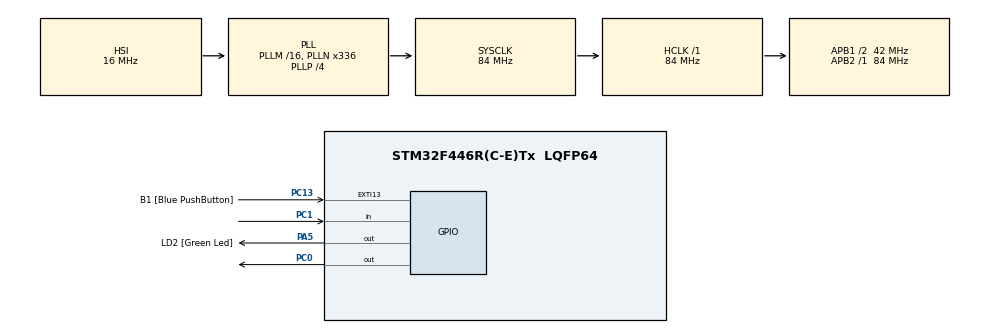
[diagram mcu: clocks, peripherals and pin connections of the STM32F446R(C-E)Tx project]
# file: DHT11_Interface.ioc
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Mcu.Family=STM32F4
Mcu.Name=STM32F446R(C-E)Tx
Mcu.Package=LQFP64
NVIC.PriorityGroup=NVIC_PRIORITYGROUP_0
NVIC.TIM6_DAC_IRQn=true\:0\:0\:false\:false\:true\:true\:true\:true
PA13.GPIO_Label=TMS
PA13.Signal=SYS_JTMS-SWDIO
PA14.Signal=SYS_JTCK-SWCLK
PA5.GPIO_Label=LD2 [Green Led]
PA5.Signal=GPIO_Output
PC0.Signal=GPIO_Output
PC1.Signal=GPIO_Input
PC13.GPIO_Label=B1 [Blue PushButton]
PC13.GPIO_ModeDefaultEXTI=GPIO_MODE_IT_FALLING
PC13.Signal=GPXTI13
PC14-OSC32_IN.Signal=RCC_OSC32_IN
PC15-OSC32_OUT.Signal=RCC_OSC32_OUT
PH0-OSC_IN.Signal=RCC_OSC_IN
PH1-OSC_OUT.Signal=RCC_OSC_OUT
ProjectManager.HeapSize=0x200
ProjectManager.StackSize=0x400
ProjectManager.TargetToolchain=STM32CubeIDE
RCC.AHBFreq_Value=84000000
RCC.APB1CLKDivider=RCC_HCLK_DIV2
RCC.APB1Freq_Value=42000000
RCC.APB1TimFreq_Value=84000000
RCC.APB2Freq_Value=84000000
RCC.APB2TimFreq_Value=84000000
RCC.CortexFreq_Value=84000000
RCC.FLatency-AdvancedSettings=FLASH_LATENCY_2
RCC.HCLKFreq_Value=84000000
RCC.HSE_VALUE=8000000
RCC.HSI_VALUE=16000000
RCC.LSE_VALUE=32768
RCC.PLLN=336
RCC.PLLP=RCC_PLLP_DIV4
RCC.SYSCLKFreq_VALUE=84000000
RCC.SYSCLKSource=RCC_SYSCLKSOURCE_PLLCLK
RCC.USBFreq_Value=168000000
RCC.VCOOutputFreq_Value=336000000
TIM6.Period=0xffff-1
TIM6.Prescaler=84-1
VP_TIM6_VS_ClockSourceINT.Mode=Enable_Timer
board=NUCLEO-F446RE

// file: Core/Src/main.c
/* USER CODE BEGIN Header */
/**
  ******************************************************************************
  * @file           : DHT11_Interface.c
  * @brief          : Displaying Humidity and Tempreture on LCD
  ******************************************************************************
  * @attention
  *
  * Copyright (c) 2023 STMicroelectronics.
  * All rights reserved.
  *
  * This software is licensed under terms that can be found in the LICENSE file
  * in the root directory of this software component.
  * If no LICENSE file comes with this software, it is provided AS-IS.
  *
  ******************************************************************************
  */
/* USER CODE END Header */
#include "main.h"

/* USER CODE BEGIN PTD */
  typedef struct {
  	uint8_t seconds;
  	uint8_t minutes;
  	uint8_t hour;
  	uint8_t dayofweek;
  	uint8_t dayofmonth;
  	uint8_t month;
  	uint8_t year;
  } TIME;

  TIME time;
/* USER CODE END PTD */

/* USER CODE BEGIN PD */
					  /*	00 01  02  03 04  05  06 */
  char timeDateToSet[15] = {0x06, 0x04, 0x10, 0x06, 0x16, 0x05, 0x23, 0};
  	  	  	  	  	  	  	  //55:19:16 6(SATURDAY), 29(date), 04(APRIL) 2023/

char timeDateReadback[15];
 char set_time[15];
 unsigned char numaric_value[20];
 int rtc_data[15];

 char buffer[15];

/* USER CODE END PD */

/* USER CODE BEGIN PM */
#define SLAVE_ADDR 0x68
/* USER CODE END PM */

TIM_HandleTypeDef htim6;

/* USER CODE BEGIN PV */
uint8_t Rh_byte1, Rh_byte2, Temp_byte1, Temp_byte2;
uint16_t RH, TEMP;
uint8_t Presence = 0;
char str[20]={0};
/* USER CODE END PV */

void SystemClock_Config(void);
static void MX_GPIO_Init(void);
static void MX_TIM6_Init(void);

/* USER CODE BEGIN 0 */
void Delay (uint16_t time)
{
	/* change your code here for the delay in microseconds */
	__HAL_TIM_SET_COUNTER(&htim6, 0);
	while ((__HAL_TIM_GET_COUNTER(&htim6))<time);
}

void Display_Temp (float Temp)
{
	char str[20] = {0};
	//LCD_command(0x01);
	//delay(11);

	sprintf (str, "TEMP:- %.0f", Temp);
	LCD_string(str);
	LCD_command(0x89);
	delay(11);
	LCD_data(0xdf);
	LCD_data('C');
}

void Display_Rh (float Rh)
{
	char str[20] = {0};
	LCD_command(0xc0);
	delay(11);

	sprintf (str, "RH:- %.0f", Rh);
	LCD_string(str);
	LCD_data('%');
	LCD_command(0xc9);
	delay(10);
	LCD_string("        ");
}

  void I2C1_init(void)
  {

  	RCC->AHB1ENR |= 2; 							/* Enable GPIOB clock */
  	RCC->APB1ENR |= 1<<21; 					/* Enable I2C1 clock */

  	/* configure PB8, PB9 pins for I2C1 */

  	GPIOB->MODER &= ~0xF0000; 				/* PB8, PB9 use alternate function */
  	GPIOB->MODER |= 0xA0000;
  	GPIOB->AFR[1] &= ~0xFF; 				/* PB8, PB9 I2C1 SCL, SDA */
  	GPIOB->AFR[1] |= 0x44;
  	GPIOB->OTYPER |= 0x300; 				/* output open-drain */
  	GPIOB->PUPDR &=~0xF0000; 				/* with pull-ups */
  	GPIOB->PUPDR |= 0x50000;

  	I2C1->CR1 = 0x8000; 						/* software reset I2C1 */
  	I2C1->CR1 &= ~0x8000;						/* out of reset */
  	I2C1->CR2 = 0x10; 						/* peripheral clock is 16 MHz*/

  	I2C1->CCR = 80; 							/* standard mode, 100kHz clock */ //0x50
  	I2C1->TRISE =17; 							/* maximum rise time */  //0x11
  	I2C1->CR1 |= 0x1; 						/* enable I2C1module */
  }

  void I2C1_burstWrite(char saddr, char maddr, int n, char* data)
  {
      int i;
      volatile int tmp;

      while (I2C1->SR2 & 2);                  /* wait until bus not busy */
      I2C1->CR1 &= ~0x800;                    /* disable POS */
      I2C1->CR1 |= 0x100;                     /* generate start */
      while (!(I2C1->SR1 & 1));               /* wait until start flag is set */
      I2C1->DR = saddr << 1;                  /* transmit slave address */
      while (!(I2C1->SR1 & 0x2));               /* wait until addr flag is set */
      tmp = I2C1->SR2;                        /* clear addr flag */
      while (!(I2C1->SR1 & 0x80));            /* wait until data register empty */
      I2C1->DR = maddr;                       /* send memory address */

      /* write all the data */
      for (i = 0; i < n; i++)
      {
          while (!(I2C1->SR1 & 0x80));        /* wait until data register empty */
          I2C1->DR = *data++;                // transmit memory address */
      }

      while (!(I2C1->SR1 & 4));               /* wait until transfer finished */
      I2C1->CR1 |= 0x200;                     /* generate stop */
  }

  void I2C1_burstRead(char saddr, char maddr, int n, char* data)
  {
      volatile int tmp;

      while (I2C1->SR2 & 2);                  /* wait until bus not busy */
      I2C1->CR1 &= ~0x800;                    /* disable POS */
      I2C1->CR1 |= 0x100;                     /* generate start */
      while (!(I2C1->SR1 & 1));               /* wait until start flag is set */
      I2C1->DR = saddr << 1;                  /* transmit slave address + Write */
      while (!(I2C1->SR1 & 2));               /* wait until addr flag is set */
      tmp = I2C1->SR2;                        /* clear addr flag */
      while (!(I2C1->SR1 & 0x80));            /* wait until transmitter empty */
      I2C1->DR = maddr;                       /* send memory address */
      while (!(I2C1->SR1 & 0x80));            /* wait until transmitter empty */

      I2C1->CR1 |= 0x100;                     /* generate restart */
      while (!(I2C1->SR1 & 1));               /* wait until start flag is set */
      I2C1->DR = saddr << 1 | 1;              /* transmit slave address + Read */
      while (!(I2C1->SR1 & 2));               /* wait until addr flag is set */
      tmp = I2C1->SR2;                        /* clear addr flag */
      I2C1->CR1 |=  0x0400;                   /* Enable Acknowledge */

      while(n > 0)
      {
          /* One byte left */
          if(n == 1)
          {
              I2C1->CR1 &= ~(0x400);          /* Disable Acknowledge */
              I2C1->CR1 |= 0x200;             /* Generate Stop */
              while (!(I2C1->SR1 & 0x40));    /* Wait for RXNE flag set */
              *data++ =I2C1->DR;             		// Read data from DR */
              break;
          }
          else
          {
              while (!(I2C1->SR1 & 0x40));    /* Wait until RXNE flag is set */
              *data++ =I2C1->DR;           			// Read data from DR */
              n--;
          }
      }
  }

  void Get_Time()
  {
  	//uint8_t get_time[7];
  	I2C1_burstRead(SLAVE_ADDR, 0x00, 7, timeDateReadback);

  	time.seconds = BCDtoDecimal(timeDateReadback[0]);		////conversion back
  	time.minutes = BCDtoDecimal(timeDateReadback[1]);
  	time.hour = 	BCDtoDecimal(timeDateReadback[2]);
  	time.dayofweek = BCDtoDecimal(timeDateReadback[3]);
  	time.dayofmonth = BCDtoDecimal(timeDateReadback[4]);
  	time.month = BCDtoDecimal(timeDateReadback[5]);
  	time.year = BCDtoDecimal(timeDateReadback[6]);
  }

  void delay(uint32_t  x)
  {
  	for(int i=0;i<x;i++)
  	{
  		for(int j=0;j<3000;j++);
  	}
  }

  int BCDtoDecimal(int BCD)
  {
  	return(((BCD>>4)*10) + (BCD & 0xf));
  }

/* USER CODE END 0 */

int main(void)
{

  /* MCU Configuration--------------------------------------------------------*/

  /* Reset of all peripherals, Initializes the Flash interface and the Systick. */
  HAL_Init();

  /* USER CODE BEGIN Init */
  I2C1_init();
  LCD_init();
  delay(10);
  /* USER CODE END Init */

  /* Configure the system clock */
  SystemClock_Config();

  /* Initialize all configured peripherals */
  MX_GPIO_Init();
  MX_TIM6_Init();
  /* USER CODE BEGIN 2 */
HAL_TIM_Base_Start(&htim6);

LCD_command(0x83);
delay(10);
LCD_string("STAY SAFE");
 delay(1000);
LCD_command(0x01);
delay(10);
 //Display_Temp(Temperature);
 //Display_Rh(Humidity);
  /* USER CODE END 2 */

  /* Infinite loop */
  /* USER CODE BEGIN WHILE */

  while (1)
  {

//	  Display_Temp(TEMP);
//	  Display_Rh(RH);
	  if(!(HAL_GPIO_ReadPin(GPIOC,GPIO_PIN_1)))
	  {
		  HAL_GPIO_WritePin(GPIOC,GPIO_PIN_0,1);
		  LCD_command(0x01);
		  delay(10);
		  LCD_command(0x83);
		  delay(10);
		  LCD_string("FIRE ALERT!!!");
		  LCD_command(0xc3);
		  delay(10);
		  LCD_string("DAIL-101");
		  HAL_Delay(2000);
		  LCD_command(0x01);
		  delay(10);

	  }
	  else
	  {
		  HAL_GPIO_WritePin(GPIOC,GPIO_PIN_0,0);
//		  LCD_command(0x01);
//		  delay(10);

	      LCD_string("TIME:");
	       LCD_command(0xC0);
	       LCD_string("DATE:");
	       I2C1_burstWrite(SLAVE_ADDR, 0x00, 7, timeDateToSet);

	      	LCD_command(0x86);

	       	Get_Time();		//reading RTC data

	       	sprintf (buffer, "%02d:%02d:%02d", time.hour, time.minutes, time.seconds);
	       	//delay(1);
	       	LCD_string(buffer);
	       	//delay(1);

	       	sprintf (buffer, "%02d-%02d-20%02d", time.dayofmonth, time.month, time.year);
	       	//delay(1);
	       	LCD_command(0xC6);
	       	LCD_string(buffer);
	       	//delay(1);
	       	//LCD_command(0x08);				//turn off the screen
	       	//delay(200);
	       	LCD_command(0x0C);				//turn on the screen and cursor off

	       	HAL_Delay(3000);
			  LCD_command(0x01);
			  delay(10);

		  dht11_start();
		  Presence = check_response();
		  Rh_byte1 = data_read();
		  Rh_byte2 = data_read();
		  Temp_byte1 = data_read();
		  Temp_byte2 = data_read();

		  TEMP = Temp_byte1;
		  RH = Rh_byte1;

		  Display_Temp(TEMP);
		  Display_Rh(RH);

		  HAL_Delay(3000);
		  LCD_command(0x01);
		  delay(10);

	  }

//	  Temperature = (float) TEMP;
//	  Humidity = (float) RH;

	 // HAL_Delay(1000);

//	  sprintf(str,"TEMP: %.2f",Temperature);
//	  LCD_command(0x01);
//	  delay(10);
//	  LCD_command(0x80);
//	  delay(10);
//	  LCD_string(str);
//	  LCD_command(0x8B);
//	  delay(10);
//	  LCD_data(0xdf);
//	  LCD_data('C');

    /* USER CODE END WHILE */

  }
}

void SystemClock_Config(void)
{
  RCC_OscInitTypeDef RCC_OscInitStruct = {0};
  RCC_ClkInitTypeDef RCC_ClkInitStruct = {0};

  /** Configure the main internal regulator output voltage
  */
  __HAL_RCC_PWR_CLK_ENABLE();
  __HAL_PWR_VOLTAGESCALING_CONFIG(PWR_REGULATOR_VOLTAGE_SCALE3);

  /** Initializes the RCC Oscillators according to the specified parameters
  * in the RCC_OscInitTypeDef structure.
  */
  RCC_OscInitStruct.OscillatorType = RCC_OSCILLATORTYPE_HSI;
  RCC_OscInitStruct.HSIState = RCC_HSI_ON;
  RCC_OscInitStruct.HSICalibrationValue = RCC_HSICALIBRATION_DEFAULT;
  RCC_OscInitStruct.PLL.PLLState = RCC_PLL_ON;
  RCC_OscInitStruct.PLL.PLLSource = RCC_PLLSOURCE_HSI;
  RCC_OscInitStruct.PLL.PLLM = 16;
  RCC_OscInitStruct.PLL.PLLN = 336;
  RCC_OscInitStruct.PLL.PLLP = RCC_PLLP_DIV4;
  RCC_OscInitStruct.PLL.PLLQ = 2;
  RCC_OscInitStruct.PLL.PLLR = 2;
  if (HAL_RCC_OscConfig(&RCC_OscInitStruct) != HAL_OK)
  {
    Error_Handler();
  }

  /** Initializes the CPU, AHB and APB buses clocks
  */
  RCC_ClkInitStruct.ClockType = RCC_CLOCKTYPE_HCLK|RCC_CLOCKTYPE_SYSCLK
                              |RCC_CLOCKTYPE_PCLK1|RCC_CLOCKTYPE_PCLK2;
  RCC_ClkInitStruct.SYSCLKSource = RCC_SYSCLKSOURCE_PLLCLK;
  RCC_ClkInitStruct.AHBCLKDivider = RCC_SYSCLK_DIV1;
  RCC_ClkInitStruct.APB1CLKDivider = RCC_HCLK_DIV2;
  RCC_ClkInitStruct.APB2CLKDivider = RCC_HCLK_DIV1;

  if (HAL_RCC_ClockConfig(&RCC_ClkInitStruct, FLASH_LATENCY_2) != HAL_OK)
  {
    Error_Handler();
  }
}

static void MX_TIM6_Init(void)
{

  TIM_MasterConfigTypeDef sMasterConfig = {0};

  htim6.Instance = TIM6;
  htim6.Init.Prescaler = 84-1;
  htim6.Init.CounterMode = TIM_COUNTERMODE_UP;
  htim6.Init.Period = 0xffff-1;
  htim6.Init.AutoReloadPreload = TIM_AUTORELOAD_PRELOAD_DISABLE;
  if (HAL_TIM_Base_Init(&htim6) != HAL_OK)
  {
    Error_Handler();
  }
  sMasterConfig.MasterOutputTrigger = TIM_TRGO_RESET;
  sMasterConfig.MasterSlaveMode = TIM_MASTERSLAVEMODE_DISABLE;
  if (HAL_TIMEx_MasterConfigSynchronization(&htim6, &sMasterConfig) != HAL_OK)
  {
    Error_Handler();
  }

}

static void MX_GPIO_Init(void)
{
  GPIO_InitTypeDef GPIO_InitStruct = {0};

  /* GPIO Ports Clock Enable */
  __HAL_RCC_GPIOC_CLK_ENABLE();
  __HAL_RCC_GPIOH_CLK_ENABLE();
  __HAL_RCC_GPIOA_CLK_ENABLE();

  /*Configure GPIO pin Output Level */
  HAL_GPIO_WritePin(GPIOC, GPIO_PIN_0, GPIO_PIN_RESET);

  /*Configure GPIO pin Output Level */
  HAL_GPIO_WritePin(LD2_GPIO_Port, LD2_Pin, GPIO_PIN_RESET);

  /*Configure GPIO pin : B1_Pin */
  GPIO_InitStruct.Pin = B1_Pin;
  GPIO_InitStruct.Mode = GPIO_MODE_IT_FALLING;
  GPIO_InitStruct.Pull = GPIO_NOPULL;
  HAL_GPIO_Init(B1_GPIO_Port, &GPIO_InitStruct);

  /*Configure GPIO pin : PC0 */
  GPIO_InitStruct.Pin = GPIO_PIN_0;
  GPIO_InitStruct.Mode = GPIO_MODE_OUTPUT_PP;
  GPIO_InitStruct.Pull = GPIO_NOPULL;
  GPIO_InitStruct.Speed = GPIO_SPEED_FREQ_LOW;
  HAL_GPIO_Init(GPIOC, &GPIO_InitStruct);

  /*Configure GPIO pin : PC1 */
  GPIO_InitStruct.Pin = GPIO_PIN_1;
  GPIO_InitStruct.Mode = GPIO_MODE_INPUT;
  GPIO_InitStruct.Pull = GPIO_NOPULL;
  HAL_GPIO_Init(GPIOC, &GPIO_InitStruct);

  /*Configure GPIO pin : LD2_Pin */
  GPIO_InitStruct.Pin = LD2_Pin;
  GPIO_InitStruct.Mode = GPIO_MODE_OUTPUT_PP;
  GPIO_InitStruct.Pull = GPIO_NOPULL;
  GPIO_InitStruct.Speed = GPIO_SPEED_FREQ_LOW;
  HAL_GPIO_Init(LD2_GPIO_Port, &GPIO_InitStruct);

}

void Error_Handler(void)
{
  __disable_irq();
  while (1)
  {
  }
}
